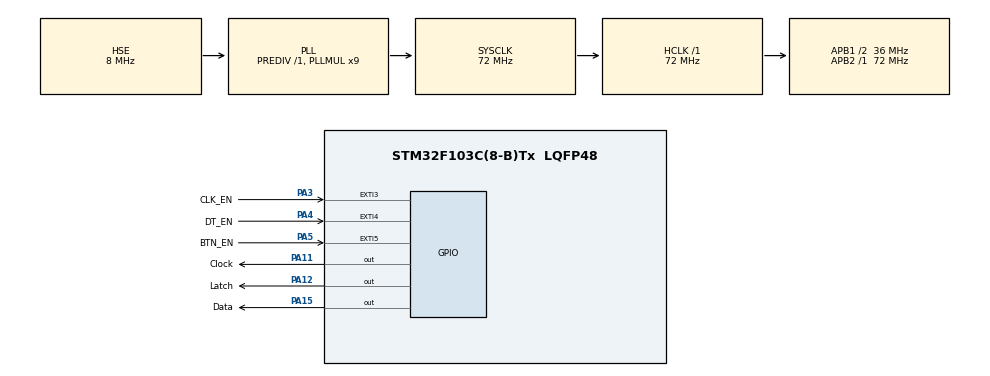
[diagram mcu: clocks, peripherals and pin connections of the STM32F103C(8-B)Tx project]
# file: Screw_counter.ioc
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Mcu.Family=STM32F1
Mcu.Name=STM32F103C(8-B)Tx
Mcu.Package=LQFP48
NVIC.EXTI3_IRQn=true\:0\:0\:false\:false\:true\:true\:true\:true
NVIC.EXTI4_IRQn=true\:0\:0\:false\:false\:true\:true\:true\:true
NVIC.EXTI9_5_IRQn=true\:0\:0\:false\:false\:true\:true\:true\:true
NVIC.PriorityGroup=NVIC_PRIORITYGROUP_4
PA11.GPIO_Label=Clock
PA11.GPIO_Speed=GPIO_SPEED_FREQ_HIGH
PA11.Signal=GPIO_Output
PA12.GPIO_Label=Latch
PA12.GPIO_Speed=GPIO_SPEED_FREQ_HIGH
PA12.Signal=GPIO_Output
PA13.Mode=Serial_Wire
PA13.Signal=SYS_JTMS-SWDIO
PA14.Mode=Serial_Wire
PA14.Signal=SYS_JTCK-SWCLK
PA15.GPIO_Label=Data
PA15.GPIO_Speed=GPIO_SPEED_FREQ_HIGH
PA15.Signal=GPIO_Output
PA3.GPIO_Label=CLK_EN
PA3.GPIO_ModeDefaultEXTI=GPIO_MODE_IT_FALLING
PA3.GPIO_PuPd=GPIO_PULLUP
PA3.Signal=GPXTI3
PA4.GPIO_Label=DT_EN
PA4.GPIO_PuPd=GPIO_PULLUP
PA4.Signal=GPXTI4
PA5.GPIO_Label=BTN_EN
PA5.GPIO_ModeDefaultEXTI=GPIO_MODE_IT_FALLING
PA5.GPIO_PuPd=GPIO_PULLUP
PA5.Signal=GPXTI5
PD0-OSC_IN.Mode=HSE-External-Oscillator
PD0-OSC_IN.Signal=RCC_OSC_IN
PD1-OSC_OUT.Mode=HSE-External-Oscillator
PD1-OSC_OUT.Signal=RCC_OSC_OUT
ProjectManager.HeapSize=0x200
ProjectManager.StackSize=0x400
ProjectManager.TargetToolchain=STM32CubeIDE
RCC.AHBFreq_Value=72000000
RCC.APB1CLKDivider=RCC_HCLK_DIV2
RCC.APB1Freq_Value=36000000
RCC.APB1TimFreq_Value=72000000
RCC.APB2Freq_Value=72000000
RCC.APB2TimFreq_Value=72000000
RCC.HCLKFreq_Value=72000000
RCC.PLLMUL=RCC_PLL_MUL9
RCC.PLLSourceVirtual=RCC_PLLSOURCE_HSE
RCC.SYSCLKFreq_VALUE=72000000
RCC.SYSCLKSource=RCC_SYSCLKSOURCE_PLLCLK
RCC.USBFreq_Value=72000000
TIM2.Prescaler=71
VP_TIM2_VS_ClockSourceINT.Mode=Internal
board=custom

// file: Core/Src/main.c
/* USER CODE BEGIN Header */
/**
  ******************************************************************************
  * @file           : main.c
  * @brief          : Main program body
  ******************************************************************************
  * @attention
  *
  * Copyright (c) 2023 STMicroelectronics.
  * All rights reserved.
  *
  * This software is licensed under terms that can be found in the LICENSE file
  * in the root directory of this software component.
  * If no LICENSE file comes with this software, it is provided AS-IS.
  *
  ******************************************************************************
  */
/* USER CODE END Header */
#include "main.h"

/* USER CODE BEGIN Includes */
#include "stdbool.h"
#include "lcd_screw.h"
/* USER CODE END Includes */

TIM_HandleTypeDef htim2;

void SystemClock_Config(void);
static void MX_GPIO_Init(void);
static void MX_TIM2_Init(void);

/* USER CODE BEGIN 0 */

/* Khai báo các biến toàn cục */
/* Quay thuận */
volatile bool turnedCW = false;
volatile bool checkturnedCW = false;

/* Quay nghịch */
volatile bool turnedCCW = false;
volatile bool checkturnedCCW = false;

/* Bấm giữ nút nhất */
volatile bool pressed_BTN_EN = false;
/* Biến đếm */
static int16_t screw_set_count = 0;

/* Sử dụng delay trong ngắt timer 2*/
void Delay_us(uint16_t t)
{
	__HAL_TIM_SET_COUNTER(&htim2,0);
	while(__HAL_TIM_GET_COUNTER(&htim2)<t);
}
void Delay_ms(uint32_t t)
{
	for(uint32_t i = 0; i<1000;i++)
		Delay_us(t);
}
/* Thực hiện ngắt */
void HAL_GPIO_EXTI_Callback(uint16_t GPIO_Pin)
{
	__disable_irq();
	Delay_ms(1);

	// Xác định trạng thái đếm lên
	if(GPIO_Pin == CLK_EN_Pin && checkturnedCW == false)
	{
		if(HAL_GPIO_ReadPin(DT_EN_GPIO_Port, DT_EN_Pin	) == 1 && HAL_GPIO_ReadPin(CLK_EN_GPIO_Port, CLK_EN_Pin) == 0)
			checkturnedCW = true;
	}
	if(GPIO_Pin == DT_EN_Pin && checkturnedCW == true)
	{
		if(HAL_GPIO_ReadPin(DT_EN_GPIO_Port, DT_EN_Pin) == 0 && HAL_GPIO_ReadPin(CLK_EN_GPIO_Port, CLK_EN_Pin) == 0)
		{
			turnedCW = true;
			checkturnedCW = false;
		}
	}

	// Xác định trạng thái đễm xuống
	if(GPIO_Pin == DT_EN_Pin && checkturnedCCW == false)
	{
		if(HAL_GPIO_ReadPin(DT_EN_GPIO_Port, DT_EN_Pin) == 0 && HAL_GPIO_ReadPin(CLK_EN_GPIO_Port, CLK_EN_Pin) == 1)
			checkturnedCCW = true;
	}
	if(GPIO_Pin == CLK_EN_Pin && checkturnedCCW == true)
	{
		if(HAL_GPIO_ReadPin(DT_EN_GPIO_Port, DT_EN_Pin) == 0 && HAL_GPIO_ReadPin(CLK_EN_GPIO_Port, CLK_EN_Pin) == 0)
		{
			turnedCCW = true;
			checkturnedCCW = false;
		}
	}

	if(GPIO_Pin == BTN_EN_Pin && pressed_BTN_EN == false)
	{
		if(HAL_GPIO_ReadPin(BTN_EN_GPIO_Port, BTN_EN_Pin) == 0)
		{
			int i = 0;
			for(i = 0;i<200;i++)
			{
				if(HAL_GPIO_ReadPin(BTN_EN_GPIO_Port, BTN_EN_Pin) == 1)
					break;
				Delay_ms(1);
			}
			if(i==200)
				pressed_BTN_EN = true;
		}
	}
	__enable_irq();
}
/* USER CODE END 0 */

int main(void)
{
  /* USER CODE BEGIN 1 */
	hc595_t conf={
			.CLK_Port = Clock_GPIO_Port,
			.CLK_Pin = Clock_Pin,
			.LATCH_Port = Latch_GPIO_Port,
			.LATCH_Pin = Latch_Pin,
			.DATA_Port = Data_GPIO_Port,
			.DATA_Pin = Data_Pin
	};
  /* USER CODE END 1 */

  /* MCU Configuration--------------------------------------------------------*/

  /* Reset of all peripherals, Initializes the Flash interface and the Systick. */
  HAL_Init();

  /* Configure the system clock */
  SystemClock_Config();

  /* Initialize all configured peripherals */
  MX_GPIO_Init();
  MX_TIM2_Init();
  /* USER CODE BEGIN 2 */
  /* Khởi động timer 2*/
  HAL_TIM_Base_Start(&htim2);
  hc595_int(&conf);
  lcd_Init();
  screw_Set_Show(screw_set_count);
  /* USER CODE END 2 */

  /* Infinite loop */
  while (1)
  {

    /* USER CODE BEGIN 3 */

	  if(turnedCW == true)
	  {
		screw_set_count++;
		lcd_Clear();
		screw_Set_Show(screw_set_count);
		turnedCW = false;
	  }
	  if(turnedCCW == true)
	  {
		screw_set_count--;
		if(screw_set_count > -1)
		{
			lcd_Clear();
			screw_Set_Show(screw_set_count);
		}
		else
			screw_set_count = 0;
		turnedCCW = false;
	  }
	  if(pressed_BTN_EN == true)
	  {
		  screw_set_count = 0;
		  lcd_Clear();
		  screw_Set_Show(screw_set_count);
		  pressed_BTN_EN = false;
	  }

  }
  /* USER CODE END 3 */
}

void SystemClock_Config(void)
{
  RCC_OscInitTypeDef RCC_OscInitStruct = {0};
  RCC_ClkInitTypeDef RCC_ClkInitStruct = {0};

  /** Initializes the RCC Oscillators according to the specified parameters
  * in the RCC_OscInitTypeDef structure.
  */
  RCC_OscInitStruct.OscillatorType = RCC_OSCILLATORTYPE_HSE;
  RCC_OscInitStruct.HSEState = RCC_HSE_ON;
  RCC_OscInitStruct.HSEPredivValue = RCC_HSE_PREDIV_DIV1;
  RCC_OscInitStruct.HSIState = RCC_HSI_ON;
  RCC_OscInitStruct.PLL.PLLState = RCC_PLL_ON;
  RCC_OscInitStruct.PLL.PLLSource = RCC_PLLSOURCE_HSE;
  RCC_OscInitStruct.PLL.PLLMUL = RCC_PLL_MUL9;
  if (HAL_RCC_OscConfig(&RCC_OscInitStruct) != HAL_OK)
  {
    Error_Handler();
  }

  /** Initializes the CPU, AHB and APB buses clocks
  */
  RCC_ClkInitStruct.ClockType = RCC_CLOCKTYPE_HCLK|RCC_CLOCKTYPE_SYSCLK
                              |RCC_CLOCKTYPE_PCLK1|RCC_CLOCKTYPE_PCLK2;
  RCC_ClkInitStruct.SYSCLKSource = RCC_SYSCLKSOURCE_PLLCLK;
  RCC_ClkInitStruct.AHBCLKDivider = RCC_SYSCLK_DIV1;
  RCC_ClkInitStruct.APB1CLKDivider = RCC_HCLK_DIV2;
  RCC_ClkInitStruct.APB2CLKDivider = RCC_HCLK_DIV1;

  if (HAL_RCC_ClockConfig(&RCC_ClkInitStruct, FLASH_LATENCY_2) != HAL_OK)
  {
    Error_Handler();
  }
}

static void MX_TIM2_Init(void)
{

  TIM_ClockConfigTypeDef sClockSourceConfig = {0};
  TIM_MasterConfigTypeDef sMasterConfig = {0};

  htim2.Instance = TIM2;
  htim2.Init.Prescaler = 71;
  htim2.Init.CounterMode = TIM_COUNTERMODE_UP;
  htim2.Init.Period = 65535;
  htim2.Init.ClockDivision = TIM_CLOCKDIVISION_DIV1;
  htim2.Init.AutoReloadPreload = TIM_AUTORELOAD_PRELOAD_DISABLE;
  if (HAL_TIM_Base_Init(&htim2) != HAL_OK)
  {
    Error_Handler();
  }
  sClockSourceConfig.ClockSource = TIM_CLOCKSOURCE_INTERNAL;
  if (HAL_TIM_ConfigClockSource(&htim2, &sClockSourceConfig) != HAL_OK)
  {
    Error_Handler();
  }
  sMasterConfig.MasterOutputTrigger = TIM_TRGO_RESET;
  sMasterConfig.MasterSlaveMode = TIM_MASTERSLAVEMODE_DISABLE;
  if (HAL_TIMEx_MasterConfigSynchronization(&htim2, &sMasterConfig) != HAL_OK)
  {
    Error_Handler();
  }

}

static void MX_GPIO_Init(void)
{
  GPIO_InitTypeDef GPIO_InitStruct = {0};

  /* GPIO Ports Clock Enable */
  __HAL_RCC_GPIOD_CLK_ENABLE();
  __HAL_RCC_GPIOA_CLK_ENABLE();

  /*Configure GPIO pin Output Level */
  HAL_GPIO_WritePin(GPIOA, Clock_Pin|Latch_Pin|Data_Pin, GPIO_PIN_RESET);

  /*Configure GPIO pins : CLK_EN_Pin BTN_EN_Pin */
  GPIO_InitStruct.Pin = CLK_EN_Pin|BTN_EN_Pin;
  GPIO_InitStruct.Mode = GPIO_MODE_IT_FALLING;
  GPIO_InitStruct.Pull = GPIO_PULLUP;
  HAL_GPIO_Init(GPIOA, &GPIO_InitStruct);

  /*Configure GPIO pin : DT_EN_Pin */
  GPIO_InitStruct.Pin = DT_EN_Pin;
  GPIO_InitStruct.Mode = GPIO_MODE_IT_RISING;
  GPIO_InitStruct.Pull = GPIO_PULLUP;
  HAL_GPIO_Init(DT_EN_GPIO_Port, &GPIO_InitStruct);

  /*Configure GPIO pins : Clock_Pin Latch_Pin Data_Pin */
  GPIO_InitStruct.Pin = Clock_Pin|Latch_Pin|Data_Pin;
  GPIO_InitStruct.Mode = GPIO_MODE_OUTPUT_PP;
  GPIO_InitStruct.Pull = GPIO_NOPULL;
  GPIO_InitStruct.Speed = GPIO_SPEED_FREQ_HIGH;
  HAL_GPIO_Init(GPIOA, &GPIO_InitStruct);

  /* EXTI interrupt init*/
  HAL_NVIC_SetPriority(EXTI3_IRQn, 0, 0);
  HAL_NVIC_EnableIRQ(EXTI3_IRQn);

  HAL_NVIC_SetPriority(EXTI4_IRQn, 0, 0);
  HAL_NVIC_EnableIRQ(EXTI4_IRQn);

  HAL_NVIC_SetPriority(EXTI9_5_IRQn, 0, 0);
  HAL_NVIC_EnableIRQ(EXTI9_5_IRQn);

}

void Error_Handler(void)
{
  __disable_irq();
  while (1)
  {
  }
}
